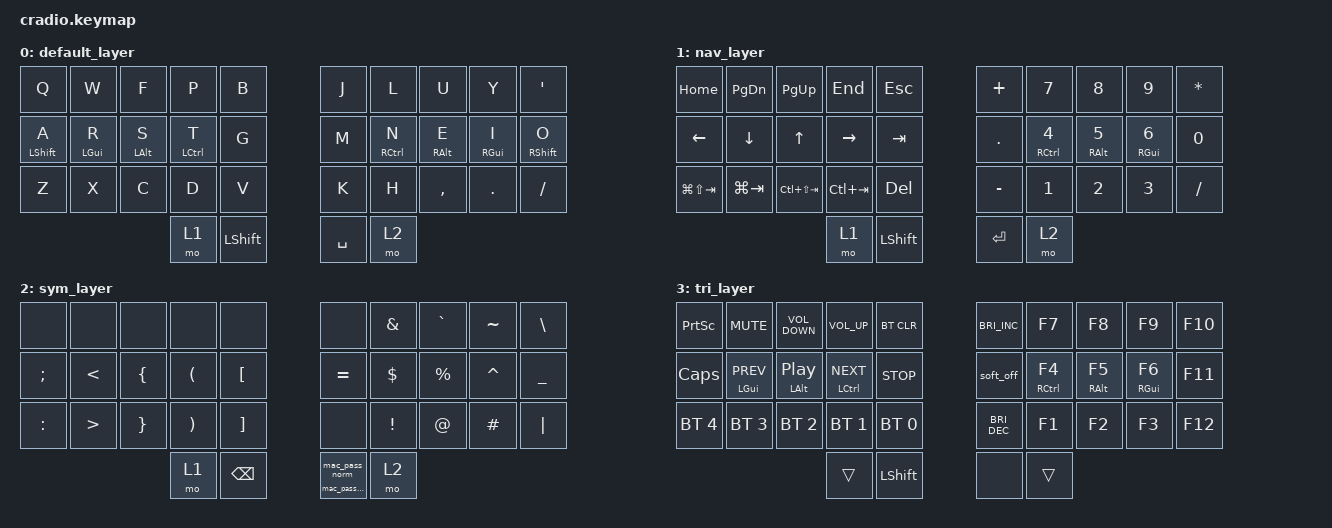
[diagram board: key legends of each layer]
/*
 * Copyright (c) 2020 The ZMK Contributors
 *
 * SPDX-License-Identifier: MIT
 */

#include <behaviors.dtsi>
#include <dt-bindings/zmk/bt.h>
#include <dt-bindings/zmk/keys.h>

&soft_off { hold-time-ms = <300>; };

/ {
    behaviors {
        hm: homerow_mods {
            compatible = "zmk,behavior-hold-tap";
            #binding-cells = <2>;
            tapping-term-ms = <200>;
            quick-tap-ms = <0>;
            flavor = "tap-preferred";
            bindings = <&kp>, <&kp>;
        };

        pass_norm_over: pass_norm_over {
            compatible = "zmk,behavior-hold-tap";
            label = "PASS_NORM_OVER";
            bindings = <&mac_pass_over>, <&mac_pass_norm>;

            #binding-cells = <2>;
            flavor = "tap-preferred";
            tapping-term-ms = <300>;
            hold-trigger-key-positions = <32>;
        };
    };

    conditional_layers {
        compatible = "zmk,conditional-layers";

        tri_layer {
            if-layers = <1 2>;
            then-layer = <3>;
        };
    };

    combos {
        compatible = "zmk,combos";

        select_left {
            bindings = <&kp LC(LS(LEFT))>;
            key-positions = <31 0 30>;
            layers = <1>;
        };

        select_down {
            bindings = <&kp LC(LS(DOWN))>;
            key-positions = <1 30 31>;
            layers = <1>;
        };

        select_up {
            bindings = <&kp LC(LS(UP))>;
            key-positions = <30 31 2>;
            layers = <1>;
        };

        select_right {
            bindings = <&kp LC(LS(RIGHT))>;
            key-positions = <3 30 31>;
            layers = <1>;
        };
    };

    macros {
        mac_pass_norm: mpassnorm {
            compatible = "zmk,behavior-macro";
            #binding-cells = <0>;
            bindings = <&kp N9 &kp N9 &kp N7 &kp N9 &kp TAB &kp N2 &kp N1 &kp N6 &kp N9 &kp ENTER>;
            label = "MPASSNORM";
        };

        mac_pass_over: mpassover {
            compatible = "zmk,behavior-macro";
            #binding-cells = <0>;
            bindings = <&kp N6 &kp N4 &kp N3 &kp N5 &kp TAB &kp N1 &kp N2 &kp N3 &kp N5 &kp ENTER>;
            label = "MPASSOVER";
        };
    };

    keymap {
        compatible = "zmk,keymap";

        default_layer {
            bindings = <
&kp Q        &kp W       &kp F       &kp P        &kp B             &kp J      &kp L        &kp U       &kp Y       &kp SQT
&hm LSHFT A  &hm LGUI R  &hm LALT S  &hm LCTRL T  &kp G             &kp M      &hm RCTRL N  &hm RALT E  &hm RGUI I  &hm RSHFT O
&kp Z        &kp X       &kp C       &kp D        &kp V             &kp K      &kp H        &kp COMMA   &kp PERIOD  &kp SLASH
                                     &mo 1        &kp LEFT_SHIFT    &kp SPACE  &mo 2
            >;
        };

        nav_layer {
            bindings = <
&kp HOME         &kp PAGE_DOWN   &kp PAGE_UP      &kp END          &kp ESC           &kp PLUS    &kp N7              &kp N8        &kp N9             &kp ASTERISK
&kp LEFT_ARROW   &kp DOWN_ARROW  &kp UP_ARROW     &kp RIGHT_ARROW  &kp TAB           &kp PERIOD  &hm RCTRL NUMBER_4  &hm RALT N5   &hm RGUI NUMBER_6  &kp N0
&kp LG(LS(TAB))  &kp LG(TAB)     &kp LC(LS(TAB))  &kp LC(TAB)      &kp DELETE        &kp MINUS   &kp NUMBER_1        &kp NUMBER_2  &kp NUMBER_3       &kp SLASH
                                                  &mo 1            &kp LEFT_SHIFT    &kp RETURN  &mo 2
            >;
        };

        sym_layer {
            bindings = <
&none      &none   &none     &none     &none            &none                &kp AMPS  &kp GRAVE  &kp TILDE  &kp BACKSLASH
&kp SEMI   &kp LT  &kp LBRC  &kp LPAR  &kp LBKT         &kp EQUAL            &kp DLLR  &kp PRCNT  &kp CARET  &kp UNDER
&kp COLON  &kp GT  &kp RBRC  &kp RPAR  &kp RBKT         &none                &kp EXCL  &kp AT     &kp HASH   &kp PIPE
                             &mo 1     &kp BACKSPACE    &pass_norm_over 0 0  &mo 2
            >;
        };

        tri_layer {
            bindings = <
&kp PRINTSCREEN  &kp C_MUTE       &kp C_VOLUME_DOWN      &kp C_VOLUME_UP   &bt BT_CLR        &kp C_BRIGHTNESS_INC  &kp F7        &kp F8       &kp F9       &kp F10
&kp CAPS         &hm LGUI C_PREV  &hm LALT C_PLAY_PAUSE  &hm LCTRL C_NEXT  &kp C_STOP        &soft_off             &hm RCTRL F4  &hm RALT F5  &hm RGUI F6  &kp F11
&bt BT_SEL 4     &bt BT_SEL 3     &bt BT_SEL 2           &bt BT_SEL 1      &bt BT_SEL 0      &kp C_BRIGHTNESS_DEC  &kp F1        &kp F2       &kp F3       &kp F12
                                                         &trans            &kp LEFT_SHIFT    &none                 &trans
            >;
        };
    };
};
